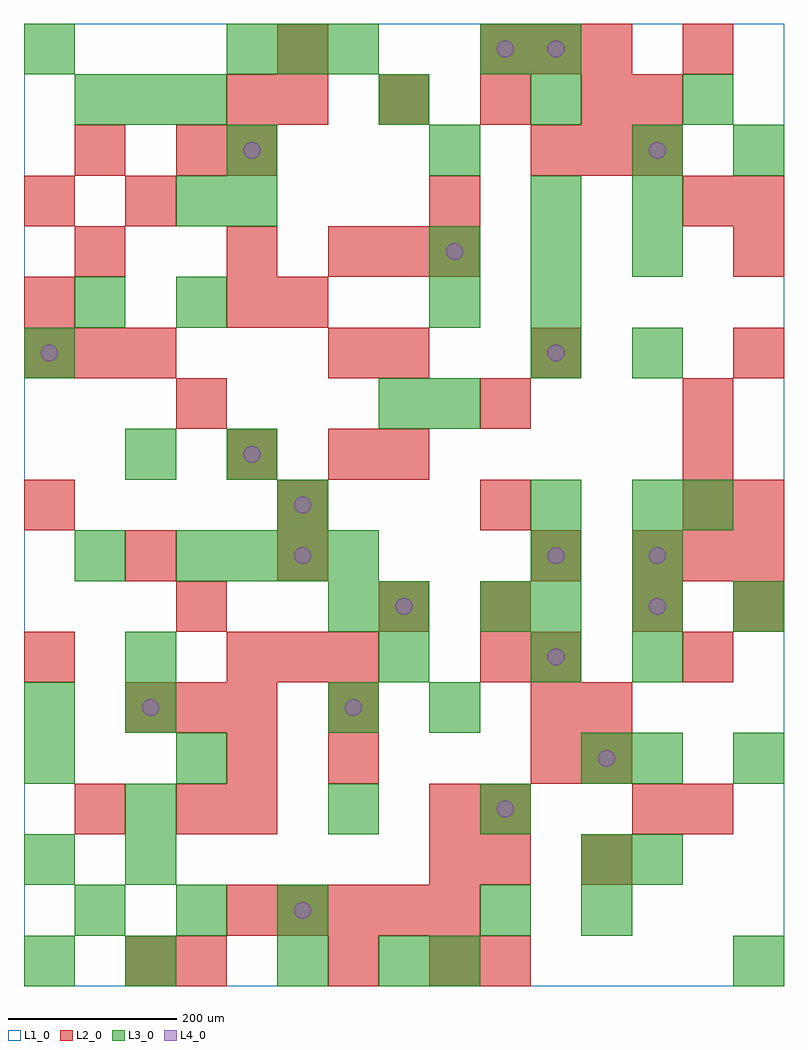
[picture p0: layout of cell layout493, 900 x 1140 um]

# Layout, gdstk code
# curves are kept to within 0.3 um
import gdstk
lib = gdstk.Library(unit=1e-6, precision=1e-09)
def R(c, l, rs):  # rectangles x0, y0, x1, y1
    for r in rs: c.add(gdstk.rectangle(r[:2], r[2:], *l))
def A(c, l, x, y, w, h, nx, ny, dx, dy):  # array of equal rectangles
    R(c, l, [(x+i*dx, y+j*dy, x+i*dx+w, y+j*dy+h) for i in range(nx) for j in range(ny)])
def P(c, l, *ps):  # polygons
    for p in ps: c.add(gdstk.Polygon(p, *l))
L1_0 = (1, 0)
L2_0 = (2, 0)
L3_0 = (3, 0)
L4_0 = (4, 0)

layout493 = lib.new_cell('layout493')
R(layout493, L1_0, [(0,0,900,1140)])
A(layout493, L2_0, 240, 60, 60, 60, 5, 1, 60, 0)
A(layout493, L2_0, 180, 180, 60, 60, 1, 3, 0, 240)
A(layout493, L2_0, 600, 240, 60, 60, 1, 3, 0, 60)
A(layout493, L2_0, 120, 300, 60, 60, 3, 1, 60, 0)
A(layout493, L2_0, 240, 360, 60, 60, 3, 1, 60, 0)
A(layout493, L2_0, 300, 480, 60, 60, 1, 3, 0, 300)
A(layout493, L2_0, 720, 480, 60, 60, 3, 1, 60, 0)
A(layout493, L2_0, 300, 540, 60, 60, 3, 1, 240, 0)
A(layout493, L2_0, 0, 720, 60, 60, 3, 1, 60, 0)
A(layout493, L2_0, 360, 840, 60, 60, 3, 1, 60, 0)
A(layout493, L2_0, 600, 960, 60, 60, 3, 1, 60, 0)
A(layout493, L2_0, 300, 1020, 60, 60, 4, 1, 120, 0)
A(layout493, L2_0, 540, 1080, 60, 60, 3, 1, 60, 0)
R(layout493, L2_0, [(120,0,180,60), (180,0,240,60), (360,0,420,60), (480,0,540,60), (540,0,600,60), (480,120,540,180), (540,120,600,180), (660,120,720,180), (60,180,120,240), (240,180,300,240), (480,180,540,240), (540,180,600,240), (720,180,780,240), (780,180,840,240), (240,240,300,300), (360,240,420,300), (660,240,720,300), (360,300,420,360), (660,300,720,360), (0,360,60,420), (540,360,600,420), (780,360,840,420), (420,420,480,480), (540,420,600,480), (720,420,780,480), (840,420,900,480), (120,480,180,540), (600,480,660,540), (0,540,60,600), (840,540,900,600), (240,600,300,660), (360,600,420,660), (420,600,480,660), (780,600,840,660), (540,660,600,720), (780,660,840,720), (360,720,420,780), (420,720,480,780), (600,720,660,780), (840,720,900,780), (0,780,60,840), (240,780,300,840), (60,840,120,900), (240,840,300,900), (840,840,900,900), (0,900,60,960), (120,900,180,960), (480,900,540,960), (780,900,840,960), (840,900,900,960), (60,960,120,1020), (180,960,240,1020), (240,960,300,1020), (240,1020,300,1080), (720,1020,780,1080), (780,1080,840,1140)])
A(layout493, L3_0, 0, 0, 60, 60, 1, 3, 0, 120)
A(layout493, L3_0, 60, 60, 60, 60, 3, 1, 120, 0)
A(layout493, L3_0, 720, 120, 60, 60, 1, 4, 0, 120)
A(layout493, L3_0, 360, 180, 60, 60, 1, 3, 0, 120)
A(layout493, L3_0, 600, 420, 60, 60, 3, 1, 120, 0)
A(layout493, L3_0, 180, 480, 60, 60, 4, 1, 60, 0)
A(layout493, L3_0, 720, 540, 60, 60, 1, 3, 0, 180)
A(layout493, L3_0, 480, 840, 60, 60, 3, 1, 120, 0)
A(layout493, L3_0, 240, 960, 60, 60, 3, 1, 240, 0)
A(layout493, L3_0, 60, 1020, 60, 60, 3, 1, 60, 0)
A(layout493, L3_0, 420, 1020, 60, 60, 3, 1, 180, 0)
A(layout493, L3_0, 240, 1080, 60, 60, 3, 1, 60, 0)
R(layout493, L3_0, [(120,0,180,60), (300,0,360,60), (420,0,480,60), (480,0,540,60), (840,0,900,60), (540,60,600,120), (660,60,720,120), (120,120,180,180), (660,120,720,180), (120,180,180,240), (540,180,600,240), (180,240,240,300), (660,240,720,300), (840,240,900,300), (0,300,60,360), (120,300,180,360), (480,300,540,360), (120,360,180,420), (420,360,480,420), (600,360,660,420), (420,420,480,480), (540,420,600,480), (60,480,120,540), (600,480,660,540), (300,540,360,600), (600,540,660,600), (780,540,840,600), (120,600,180,660), (240,600,300,660), (420,660,480,720), (480,660,540,720), (0,720,60,780), (600,720,660,780), (60,780,120,840), (180,780,240,840), (480,780,540,840), (600,780,660,840), (180,900,240,960), (240,900,300,960), (600,900,660,960), (840,960,900,1020), (0,1080,60,1140), (540,1080,600,1140), (600,1080,660,1140)])
P(layout493, L4_0, [(40,750),(39.239,753.827),(37.071,757.071),(33.827,759.239),(30,760),(26.173,759.239),(22.929,757.071),(20.761,753.827),(20,750),(20.761,746.173),(22.929,742.929),(26.173,740.761),(30,740),(33.827,740.761),(37.071,742.929),(39.239,746.173)],
  [(160,330),(159.239,333.827),(157.071,337.071),(153.827,339.239),(150,340),(146.173,339.239),(142.929,337.071),(140.761,333.827),(140,330),(140.761,326.173),(142.929,322.929),(146.173,320.761),(150,320),(153.827,320.761),(157.071,322.929),(159.239,326.173)],
  [(280,630),(279.239,633.827),(277.071,637.071),(273.827,639.239),(270,640),(266.173,639.239),(262.929,637.071),(260.761,633.827),(260,630),(260.761,626.173),(262.929,622.929),(266.173,620.761),(270,620),(273.827,620.761),(277.071,622.929),(279.239,626.173)],
  [(280,990),(279.239,993.827),(277.071,997.071),(273.827,999.239),(270,1000),(266.173,999.239),(262.929,997.071),(260.761,993.827),(260,990),(260.761,986.173),(262.929,982.929),(266.173,980.761),(270,980),(273.827,980.761),(277.071,982.929),(279.239,986.173)],
  [(340,90),(339.239,93.827),(337.071,97.071),(333.827,99.239),(330,100),(326.173,99.239),(322.929,97.071),(320.761,93.827),(320,90),(320.761,86.173),(322.929,82.929),(326.173,80.761),(330,80),(333.827,80.761),(337.071,82.929),(339.239,86.173)],
  [(340,510),(339.239,513.827),(337.071,517.071),(333.827,519.239),(330,520),(326.173,519.239),(322.929,517.071),(320.761,513.827),(320,510),(320.761,506.173),(322.929,502.929),(326.173,500.761),(330,500),(333.827,500.761),(337.071,502.929),(339.239,506.173)],
  [(340,570),(339.239,573.827),(337.071,577.071),(333.827,579.239),(330,580),(326.173,579.239),(322.929,577.071),(320.761,573.827),(320,570),(320.761,566.173),(322.929,562.929),(326.173,560.761),(330,560),(333.827,560.761),(337.071,562.929),(339.239,566.173)],
  [(400,330),(399.239,333.827),(397.071,337.071),(393.827,339.239),(390,340),(386.173,339.239),(382.929,337.071),(380.761,333.827),(380,330),(380.761,326.173),(382.929,322.929),(386.173,320.761),(390,320),(393.827,320.761),(397.071,322.929),(399.239,326.173)],
  [(460,450),(459.239,453.827),(457.071,457.071),(453.827,459.239),(450,460),(446.173,459.239),(442.929,457.071),(440.761,453.827),(440,450),(440.761,446.173),(442.929,442.929),(446.173,440.761),(450,440),(453.827,440.761),(457.071,442.929),(459.239,446.173)],
  [(520,870),(519.239,873.827),(517.071,877.071),(513.827,879.239),(510,880),(506.173,879.239),(502.929,877.071),(500.761,873.827),(500,870),(500.761,866.173),(502.929,862.929),(506.173,860.761),(510,860),(513.827,860.761),(517.071,862.929),(519.239,866.173)],
  [(580,210),(579.239,213.827),(577.071,217.071),(573.827,219.239),(570,220),(566.173,219.239),(562.929,217.071),(560.761,213.827),(560,210),(560.761,206.173),(562.929,202.929),(566.173,200.761),(570,200),(573.827,200.761),(577.071,202.929),(579.239,206.173)],
  [(580,1110),(579.239,1113.827),(577.071,1117.071),(573.827,1119.239),(570,1120),(566.173,1119.239),(562.929,1117.071),(560.761,1113.827),(560,1110),(560.761,1106.173),(562.929,1102.929),(566.173,1100.761),(570,1100),(573.827,1100.761),(577.071,1102.929),(579.239,1106.173)],
  [(640,390),(639.239,393.827),(637.071,397.071),(633.827,399.239),(630,400),(626.173,399.239),(622.929,397.071),(620.761,393.827),(620,390),(620.761,386.173),(622.929,382.929),(626.173,380.761),(630,380),(633.827,380.761),(637.071,382.929),(639.239,386.173)],
  [(640,510),(639.239,513.827),(637.071,517.071),(633.827,519.239),(630,520),(626.173,519.239),(622.929,517.071),(620.761,513.827),(620,510),(620.761,506.173),(622.929,502.929),(626.173,500.761),(630,500),(633.827,500.761),(637.071,502.929),(639.239,506.173)],
  [(640,750),(639.239,753.827),(637.071,757.071),(633.827,759.239),(630,760),(626.173,759.239),(622.929,757.071),(620.761,753.827),(620,750),(620.761,746.173),(622.929,742.929),(626.173,740.761),(630,740),(633.827,740.761),(637.071,742.929),(639.239,746.173)],
  [(640,1110),(639.239,1113.827),(637.071,1117.071),(633.827,1119.239),(630,1120),(626.173,1119.239),(622.929,1117.071),(620.761,1113.827),(620,1110),(620.761,1106.173),(622.929,1102.929),(626.173,1100.761),(630,1100),(633.827,1100.761),(637.071,1102.929),(639.239,1106.173)],
  [(700,270),(699.239,273.827),(697.071,277.071),(693.827,279.239),(690,280),(686.173,279.239),(682.929,277.071),(680.761,273.827),(680,270),(680.761,266.173),(682.929,262.929),(686.173,260.761),(690,260),(693.827,260.761),(697.071,262.929),(699.239,266.173)],
  [(760,450),(759.239,453.827),(757.071,457.071),(753.827,459.239),(750,460),(746.173,459.239),(742.929,457.071),(740.761,453.827),(740,450),(740.761,446.173),(742.929,442.929),(746.173,440.761),(750,440),(753.827,440.761),(757.071,442.929),(759.239,446.173)],
  [(760,510),(759.239,513.827),(757.071,517.071),(753.827,519.239),(750,520),(746.173,519.239),(742.929,517.071),(740.761,513.827),(740,510),(740.761,506.173),(742.929,502.929),(746.173,500.761),(750,500),(753.827,500.761),(757.071,502.929),(759.239,506.173)],
  [(760,990),(759.239,993.827),(757.071,997.071),(753.827,999.239),(750,1000),(746.173,999.239),(742.929,997.071),(740.761,993.827),(740,990),(740.761,986.173),(742.929,982.929),(746.173,980.761),(750,980),(753.827,980.761),(757.071,982.929),(759.239,986.173)])

lib.write_gds('layout493.gds')
